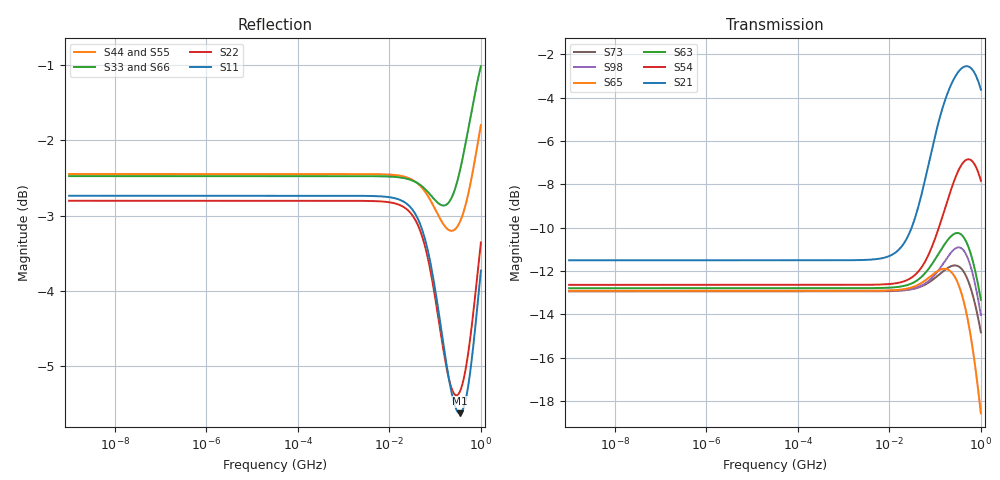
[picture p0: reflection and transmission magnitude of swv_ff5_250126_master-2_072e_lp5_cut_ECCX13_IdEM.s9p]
! Touchstone data
! Created: 18-Apr-2025 by IdEM 2023 (2023.0.0)
! COMMENTS
!  Touchstone file exported from Ansys Full-Wave Spice
!  Project: 0000_PSI_S-parameter_Sweep
!  Design: unknown
!  Creation time: Fri Apr 18 11:30:09 2025
!  Notes: ! Touchstone(R) file created by SIwave 2025 R1
!  : ! Touchstone(R) file created on Fri Apr 18 11:30:09 2025
!  Modal data exported
!  Port[1] = PORT_1_DIE1_VDDCR_ECCX13_Group_DIE1_GRP_1_0_VSS
!  Port[2] = PORT_2_BGA1_VDDCR_ECCX13_Group_BGA1_GRP_1_1_VSS
!  Port[3] = VDDCR_ECCX13_C18_2
!  Port[4] = VDDCR_ECCX13_C19_2
!  Port[5] = VDDCR_ECCX13_C21_2
!  Port[6] = VDDCR_ECCX13_C22_2
!  Port[7] = VDDCR_ECCX13_C100_2
!  Port[8] = VDDCR_ECCX13_C101_2
!  Port[9] = VDDCR_ECCX13_C104_2
! Options Used in IdEM Flow
! Fitting Options !
! Bandwidth: 1.0000e+09 Hz
! Order: [2 2 4]
! SplitType: none
! tol: 1.0000e-03
! DC Point: enforced
! Passivity Options !
! Alg: SOC+HAM
!  Max SOC it: 200
!  Max HAM it: 50
! Freq sampling: adaptive
! DC Point: enforced
! Optimization method: Model based
# Hz S MA R 0.1
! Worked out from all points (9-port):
!   420 points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, 1 Hz to 1 GHz, reference 0.1 ohm
!   strongest paths, dB at 1 Hz, 3.687 kHz, 11.66 MHz, 482.9 MHz, 1 GHz:
!     S21: -11.5, -11.5, -11.2, -2.6, -3.6
!     S54: -12.6, -12.6, -12.6, -6.9, -7.8
!     S63: -12.8, -12.8, -12.8, -10.7, -13.3
!     S65: -12.9, -12.9, -12.9, -13.9, -18.6
!     S98: -12.9, -12.9, -12.9, -11.3, -14.0
!     S73: -12.9, -12.9, -12.9, -12.3, -14.8
!   lowest |S11| = -5.6 dB at 343.6 MHz (marker M1), VSWR 3.20, Z = 0.0429 + j0.0566 ohm
!   |S11| at or under -10 dB: nowhere
